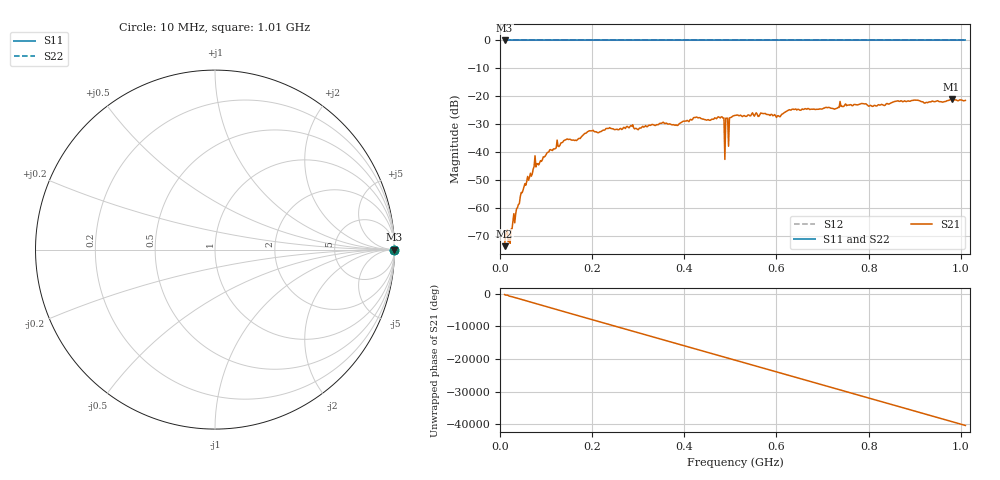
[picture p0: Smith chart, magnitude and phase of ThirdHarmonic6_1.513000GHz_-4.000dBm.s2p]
! 8/16/2025 5:49:26 PM
! C:\ANRITSUVNA\TEMP\TEMP.S2P
! CHANNEL.1
! TR.MEASUREMENT
! RAW.DATA
! RF.CORRECTION.OFF
! AVERAGING.OFF
! IF.BANDWIDTH: 5KHZ
! SWEEPTYPE:  FREQ.SWEEP(Linear)
! Reference Plane Port Info
! PORT:  PORT1  PORT2
! DISTANCE:  0  m  0  m
! TIME:  0  s  0  s
! PHASE.OFFSET:  0  deg.  0  deg.
! LOSS:  0  dB  0  dB
! REF.LOSS:  0  dB  0  dB
! REF.FREQ:  0  Hz  0  Hz
! Power Info
! POWER:  -20  dBm  -20  dBm
! EFF.POWER:  -20  dBm  -20  dBm
! SOURCE.ATTEN:  0  dB  0  dB
! TEST.ATTEN:  0  dB  0  dB
# GHZ S RI R 50.0
! FREQ.GHZ  S11RE  S11IM  S21RE  S21IM  S12RE  S12IM  S22RE  S22IM
!; PortSelection: Port_12
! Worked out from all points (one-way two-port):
!   501 points, 10 MHz to 1.01 GHz, reference 50 ohm
!   highest |S21| = -21.08 dB at 980 MHz (marker M1); lowest = -73.5 dB at 10 MHz (marker M2)
!   lowest |S11| = 0.0 dB at 10 MHz (marker M3)
!   |S11| at or under -10 dB: nowhere
!   |S22| runs from 0.0 to 0.0 dB; largest |S21 - S12| = 1.1
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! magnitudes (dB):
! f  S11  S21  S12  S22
! 10 MHz  0.0  -73.5  0.0  0.0
! 22 MHz  0.0  -72.5  0.0  0.0
! 32 MHz  0.0  -65.1  0.0  0.0
! 48 MHz  0.0  -54.4  0.0  0.0
! 76 MHz  0.0  -41.2  0.0  0.0
! 142 MHz  0.0  -35.5  0.0  0.0
! 178 MHz  0.0  -34.2  0.0  0.0
! 198 MHz  0.0  -32.3  0.0  0.0
! 344 MHz  0.0  -30.0  0.0  0.0
! 478 MHz  0.0  -27.7  0.0  0.0
! 482 MHz  0.0  -27.3  0.0  0.0
! 484 MHz  0.0  -27.7  0.0  0.0
! 490 MHz  0.0  -27.8  0.0  0.0
! 492 MHz  0.0  -27.8  0.0  0.0
! 494 MHz  0.0  -27.7  0.0  0.0
! 510 MHz  0.0  -26.8  0.0  0.0
! 604 MHz  0.0  -26.9  0.0  0.0
! 632 MHz  0.0  -24.8  0.0  0.0
! 678 MHz  0.0  -24.6  0.0  0.0
! 844 MHz  0.0  -22.7  0.0  0.0
! 980 MHz  0.0  -21.1  0.0  0.0
! 1.01 GHz  0.0  -21.4  0.0  0.0
